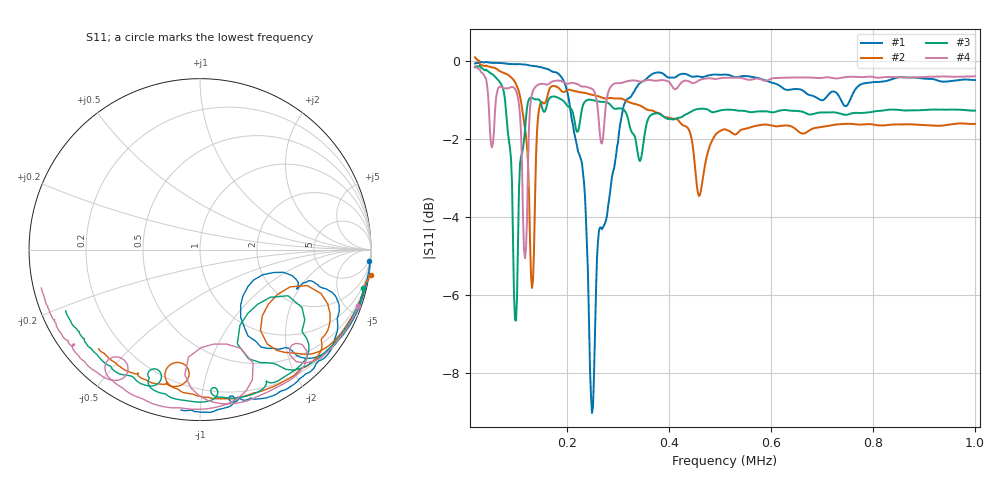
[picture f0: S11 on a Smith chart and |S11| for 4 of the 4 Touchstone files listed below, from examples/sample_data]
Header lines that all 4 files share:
! NanoVNA MATLAB Controller & Analyzer Export
! Freq Range: 20.000 kHz - 1000.000 kHz (501 pts)
# Hz S RI R 50
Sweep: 20 kHz to 1 MHz
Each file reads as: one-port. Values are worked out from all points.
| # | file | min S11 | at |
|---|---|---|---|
| 1 | NanoVNA_Sweep_10_MM_PZT.s1p | -9.0 dB | 249.3 kHz |
| 2 | NanoVNA_Sweep_20_MM_PZT.s1p | -5.8 dB | 131.7 kHz |
| 3 | NanoVNA_Sweep_27_MM_PZT.s1p | -6.7 dB | 100.4 kHz |
| 4 | NanoVNA_Sweep_50_MM_PZT.s1p | -5.1 dB | 118 kHz |
